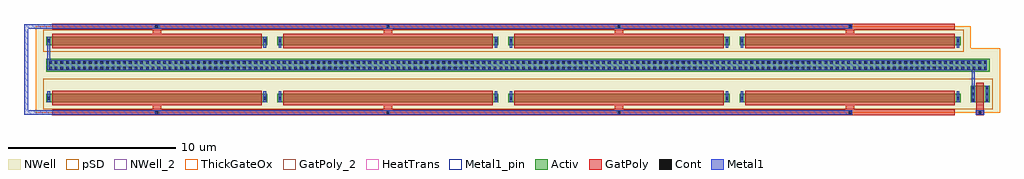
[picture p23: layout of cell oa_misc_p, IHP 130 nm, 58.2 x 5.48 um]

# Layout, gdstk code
import gdstk
lib = gdstk.Library(unit=1e-6, precision=1e-09)
def R(c, l, rs):  # rectangles x0, y0, x1, y1
    for r in rs: c.add(gdstk.rectangle(r[:2], r[2:], *l))
def A(c, l, x, y, w, h, nx, ny, dx, dy):  # array of equal rectangles
    R(c, l, [(x+i*dx, y+j*dy, x+i*dx+w, y+j*dy+h) for i in range(nx) for j in range(ny)])
Activ = (1, 0)
GatPoly = (5, 0)
GatPoly_2 = (5, 2)
Cont = (6, 0)
Metal1 = (8, 0)
Metal1_pin = (8, 2)
pSD = (14, 0)
NWell = (31, 0)
NWell_2 = (31, 2)
ThickGateOx = (44, 0)
HeatTrans = (51, 0)

pmoshv_13 = lib.new_cell('pmosHV$13')
R(pmoshv_13, Activ, [(0,0,0.3,0.3), (0,0,13.18,0.5), (12.88,0,13.18,0.3)])
R(pmoshv_13, GatPoly, [(0.34,-0.18,12.84,0.68)])
R(pmoshv_13, GatPoly_2, [(0.34,-0.18,12.84,0.68)])
R(pmoshv_13, Cont, [(0.07,0.17,0.23,0.33), (12.95,0.17,13.11,0.33)])
R(pmoshv_13, Metal1, [(0.07,0,0.23,0.5), (12.95,0,13.11,0.5)])
R(pmoshv_13, Metal1_pin, [(0.07,0,0.23,0.5), (12.95,0,13.11,0.5)])
R(pmoshv_13, pSD, [(-0.18,-0.4,13.36,0.9)])
R(pmoshv_13, NWell, [(-0.62,-0.62,13.8,1.12)])
R(pmoshv_13, ThickGateOx, [(-0.62,-0.62,13.8,1.12)])
R(pmoshv_13, HeatTrans, [(0.34,-0.18,12.84,0.68)])
pmoshv_13.add(gdstk.Label('pmosHV', (6.59,0.25), layer=63, texttype=0))
pmoshv_13.add(gdstk.Label('pmos', (6.59,0.25), layer=51, texttype=0))

ntap1_14 = lib.new_cell('ntap1$14')
R(ntap1_14, Activ, [(0,0,56.25,0.78)])
A(ntap1_14, Cont, 0.165, 0.14, 0.16, 0.16, 165, 2, 0.34, 0.34)
R(ntap1_14, Metal1, [(0.165,0.09,56.085,0.69)])
R(ntap1_14, Metal1_pin, [(0.165,0.09,56.085,0.69), (0.165,0.14,56.085,0.64)])
R(ntap1_14, NWell, [(-0.24,-0.24,56.49,1.02), (0,0,56.25,0.78)])
R(ntap1_14, NWell_2, [(0,0,56.25,0.78)])
ntap1_14.add(gdstk.Label('well', (28.125,0.01), layer=63, texttype=0))
ntap1_14.add(gdstk.Label('well', (28.125,0.01), layer=31, texttype=0))

oa_misc_p_r1 = lib.new_cell('oa_misc_p_r1')
A(oa_misc_p_r1, GatPoly, 6.34, 0.5, 0.5, 0.43, 4, 1, 13.78, 0)
R(oa_misc_p_r1, GatPoly, [(0.34,0.92,54.18,1.28)])
A(oa_misc_p_r1, Cont, 6.51, 1.02, 0.16, 0.16, 4, 1, 13.78, 0)
R(oa_misc_p_r1, Metal1, [(0.07,-1.51,0.23,-0.91), (0.07,-1.01,0.23,0.05), (0.07,-0.15,0.23,0.5), (12.95,-0.15,13.11,0.5), (13.85,-0.15,14.01,0.5), (26.73,-0.15,26.89,0.5), (27.63,-0.15,27.79,0.5), (40.51,-0.15,40.67,0.5), (41.41,-0.15,41.57,0.5), (54.29,-0.15,54.45,0.5), (6.46,0.97,48.06,1.23)])
R(oa_misc_p_r1, Metal1_pin, [(0.165,-1.51,0.565,-0.91), (12.95,0,13.11,0.5), (13.85,0,14.01,0.5), (26.73,0,26.89,0.5), (27.63,0,27.79,0.5), (40.51,0,40.67,0.5), (41.41,0,41.57,0.5), (54.29,0,54.45,0.5), (6.46,0.97,6.76,1.23)])
R(oa_misc_p_r1, pSD, [(-0.18,-0.4,54.7,0.9)])
R(oa_misc_p_r1, NWell, [(-0.62,-2.22,55.14,1.12)])
R(oa_misc_p_r1, ThickGateOx, [(-0.62,-2.22,55.14,1.12)])
oa_misc_p_r1.add(gdstk.Reference(pmoshv_13, (0,0)))
oa_misc_p_r1.add(gdstk.Reference(pmoshv_13, (13.78,0)))
oa_misc_p_r1.add(gdstk.Reference(pmoshv_13, (27.56,0)))
oa_misc_p_r1.add(gdstk.Reference(pmoshv_13, (41.34,0)))
oa_misc_p_r1.add(gdstk.Reference(ntap1_14, (0,-1.6)))
oa_misc_p_r1.add(gdstk.Label('MS1_0', (0,0.25), layer=63, texttype=0))
oa_misc_p_r1.add(gdstk.Label('MS1_1', (13.78,0.25), layer=63, texttype=0))
oa_misc_p_r1.add(gdstk.Label('MS1_2', (27.56,0.25), layer=63, texttype=0))
oa_misc_p_r1.add(gdstk.Label('MS1_3', (41.34,0.25), layer=63, texttype=0))
oa_misc_p_r1.add(gdstk.Label('en_3v3_b', (6.61,1.1), layer=8, texttype=25))
oa_misc_p_r1.add(gdstk.Label('vdd', (0.365,-1.21), layer=8, texttype=25))
oa_misc_p_r1.add(gdstk.Label('ms1', (13.03,0.25), layer=8, texttype=25))
oa_misc_p_r1.add(gdstk.Label('ms1', (13.93,0.25), layer=8, texttype=25))
oa_misc_p_r1.add(gdstk.Label('ms2', (26.81,0.25), layer=8, texttype=25))
oa_misc_p_r1.add(gdstk.Label('ms2', (27.71,0.25), layer=8, texttype=25))
oa_misc_p_r1.add(gdstk.Label('ms3', (40.59,0.25), layer=8, texttype=25))
oa_misc_p_r1.add(gdstk.Label('ms3', (41.49,0.25), layer=8, texttype=25))
oa_misc_p_r1.add(gdstk.Label('ms4', (54.37,0.25), layer=8, texttype=25))

pmoshv_7 = lib.new_cell('pmosHV$7')
R(pmoshv_7, Activ, [(0,0,0.3,0.3), (0,0,1.13,1), (0.83,0,1.13,0.3)])
R(pmoshv_7, GatPoly, [(0.34,-0.18,0.79,1.18)])
R(pmoshv_7, GatPoly_2, [(0.34,-0.18,0.79,1.18)])
A(pmoshv_7, Cont, 0.07, 0.07, 0.16, 0.16, 1, 3, 0, 0.35)
A(pmoshv_7, Cont, 0.9, 0.07, 0.16, 0.16, 1, 3, 0, 0.35)
R(pmoshv_7, Metal1, [(0.07,0,0.23,1), (0.9,0,1.06,1)])
R(pmoshv_7, Metal1_pin, [(0.07,0,0.23,1), (0.9,0,1.06,1)])
R(pmoshv_7, pSD, [(-0.18,-0.4,1.31,1.4)])
R(pmoshv_7, NWell, [(-0.62,-0.62,1.75,1.62)])
R(pmoshv_7, ThickGateOx, [(-0.62,-0.62,1.75,1.62)])
R(pmoshv_7, HeatTrans, [(0.34,-0.18,0.79,1.18)])
pmoshv_7.add(gdstk.Label('pmosHV', (0.565,0.5), layer=63, texttype=0))
pmoshv_7.add(gdstk.Label('pmos', (0.565,0.5), layer=51, texttype=0))

oa_misc_p_r2 = lib.new_cell('oa_misc_p_r2')
A(oa_misc_p_r2, GatPoly, 6.34, 1, 0.5, 0.43, 4, 1, 13.78, 0)
R(oa_misc_p_r2, GatPoly, [(55.46,1,55.91,1.43), (0.34,1.42,54.18,1.78), (55.46,1.42,55.91,1.78)])
A(oa_misc_p_r2, Cont, 6.51, 1.52, 0.16, 0.16, 4, 1, 13.78, 0)
R(oa_misc_p_r2, Cont, [(55.605,1.52,55.765,1.68)])
R(oa_misc_p_r2, Metal1, [(55.19,-1.51,55.35,-0.91), (55.19,-1.01,55.35,0.05), (0.07,0.35,0.23,1), (12.95,0.35,13.11,1), (13.85,0.35,14.01,1), (26.73,0.35,26.89,1), (27.63,0.35,27.79,1), (40.51,0.35,40.67,1), (41.41,0.35,41.57,1), (54.29,0.35,54.45,1), (6.46,1.47,48.06,1.73), (55.435,1.47,55.935,1.73)])
R(oa_misc_p_r2, Metal1_pin, [(0.165,-1.51,0.565,-0.91), (56.02,0.25,56.18,0.75), (0.07,0.5,0.23,1), (12.95,0.5,13.11,1), (13.85,0.5,14.01,1), (26.73,0.5,26.89,1), (27.63,0.5,27.79,1), (40.51,0.5,40.67,1), (41.41,0.5,41.57,1), (54.29,0.5,54.45,1), (6.46,1.47,6.76,1.73), (55.435,1.47,55.735,1.73)])
R(oa_misc_p_r2, pSD, [(-0.18,-0.4,56.43,1.4)])
R(oa_misc_p_r2, NWell, [(-0.62,-2.22,56.87,1.62)])
R(oa_misc_p_r2, ThickGateOx, [(-0.62,-2.22,56.87,1.62)])
oa_misc_p_r2.add(gdstk.Reference(pmoshv_13, (0,0.5)))
oa_misc_p_r2.add(gdstk.Reference(pmoshv_13, (13.78,0.5)))
oa_misc_p_r2.add(gdstk.Reference(pmoshv_13, (27.56,0.5)))
oa_misc_p_r2.add(gdstk.Reference(pmoshv_13, (41.34,0.5)))
oa_misc_p_r2.add(gdstk.Reference(pmoshv_7, (55.12,0)))
oa_misc_p_r2.add(gdstk.Reference(ntap1_14, (0,-1.6)))
oa_misc_p_r2.add(gdstk.Label('MS1_4', (0,0.75), layer=63, texttype=0))
oa_misc_p_r2.add(gdstk.Label('MS1_5', (13.78,0.75), layer=63, texttype=0))
oa_misc_p_r2.add(gdstk.Label('MS1_6', (27.56,0.75), layer=63, texttype=0))
oa_misc_p_r2.add(gdstk.Label('MS1_7', (41.34,0.75), layer=63, texttype=0))
oa_misc_p_r2.add(gdstk.Label('SVPG', (55.12,0.5), layer=63, texttype=0))
oa_misc_p_r2.add(gdstk.Label('en_3v3_b', (6.61,1.6), layer=8, texttype=25))
oa_misc_p_r2.add(gdstk.Label('en_3v3', (55.585,1.6), layer=8, texttype=25))
oa_misc_p_r2.add(gdstk.Label('vdd', (0.365,-1.21), layer=8, texttype=25))
oa_misc_p_r2.add(gdstk.Label('ms4', (0.15,0.75), layer=8, texttype=25))
oa_misc_p_r2.add(gdstk.Label('ms5', (13.03,0.75), layer=8, texttype=25))
oa_misc_p_r2.add(gdstk.Label('ms5', (13.93,0.75), layer=8, texttype=25))
oa_misc_p_r2.add(gdstk.Label('ms6', (26.81,0.75), layer=8, texttype=25))
oa_misc_p_r2.add(gdstk.Label('ms6', (27.71,0.75), layer=8, texttype=25))
oa_misc_p_r2.add(gdstk.Label('ms7', (40.59,0.75), layer=8, texttype=25))
oa_misc_p_r2.add(gdstk.Label('ms7', (41.49,0.75), layer=8, texttype=25))
oa_misc_p_r2.add(gdstk.Label('ks', (54.37,0.75), layer=8, texttype=25))
oa_misc_p_r2.add(gdstk.Label('vpg', (56.1,0.5), layer=8, texttype=25))

oa_misc_p = lib.new_cell('oa_misc_p')
R(oa_misc_p, Metal1, [(-1.33,-4.15,6.47,-3.89), (-1.33,-4.02,-1.07,1.1), (-1.33,0.97,6.47,1.23)])
oa_misc_p.add(gdstk.Reference(oa_misc_p_r1, (0,0)))
oa_misc_p.add(gdstk.Reference(oa_misc_p_r2, (0,-2.42), x_reflection=True))

lib.write_gds('oa_misc_p.gds')
